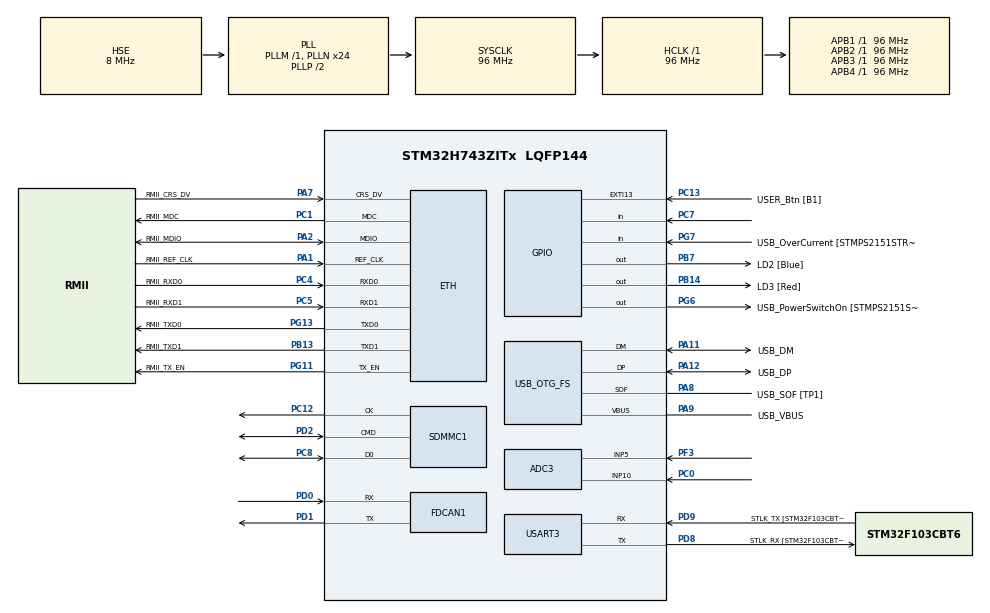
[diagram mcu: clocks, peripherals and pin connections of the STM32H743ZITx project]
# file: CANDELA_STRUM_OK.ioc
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ADC3.Channel-0\#ChannelRegularConversion=ADC_CHANNEL_10
ADC3.Channel-1\#ChannelRegularConversion=ADC_CHANNEL_5
ADC3.ClockPrescaler=ADC_CLOCK_ASYNC_DIV12
ADC3.ContinuousConvMode=ENABLE
ADC3.ConversionDataManagement=ADC_CONVERSIONDATA_DMA_CIRCULAR
ADC3.NbrOfConversion=2
ADC3.NbrOfConversionFlag=1
ADC3.OffsetNumber-0\#ChannelRegularConversion=ADC_OFFSET_NONE
ADC3.OffsetNumber-1\#ChannelRegularConversion=ADC_OFFSET_NONE
ADC3.Overrun=ADC_OVR_DATA_OVERWRITTEN
ADC3.Rank-0\#ChannelRegularConversion=1
ADC3.Rank-1\#ChannelRegularConversion=2
ADC3.SamplingTime-0\#ChannelRegularConversion=ADC_SAMPLETIME_1CYCLE_5
ADC3.SamplingTime-1\#ChannelRegularConversion=ADC_SAMPLETIME_1CYCLE_5
Dma.ADC3.0.Direction=DMA_PERIPH_TO_MEMORY
Dma.ADC3.0.EventEnable=DISABLE
Dma.ADC3.0.FIFOMode=DMA_FIFOMODE_DISABLE
Dma.ADC3.0.Instance=DMA1_Stream0
Dma.ADC3.0.MemDataAlignment=DMA_MDATAALIGN_HALFWORD
Dma.ADC3.0.MemInc=DMA_MINC_ENABLE
Dma.ADC3.0.Mode=DMA_CIRCULAR
Dma.ADC3.0.PeriphDataAlignment=DMA_PDATAALIGN_HALFWORD
Dma.ADC3.0.PeriphInc=DMA_PINC_DISABLE
Dma.ADC3.0.Polarity=HAL_DMAMUX_REQ_GEN_RISING
Dma.ADC3.0.Priority=DMA_PRIORITY_LOW
Dma.ADC3.0.RequestNumber=1
Dma.ADC3.0.SignalID=NONE
Dma.ADC3.0.SyncEnable=DISABLE
Dma.ADC3.0.SyncPolarity=HAL_DMAMUX_SYNC_NO_EVENT
Dma.ADC3.0.SyncRequestNumber=1
Dma.ADC3.0.SyncSignalID=NONE
Dma.Request0=ADC3
ETH.MediaInterface=HAL_ETH_RMII_MODE
FATFS.BSP.number=1
FATFS._FS_EXFAT=1
FATFS._MAX_SS=4096
FATFS._USE_LFN=1
FATFS0.BSP.STBoard=false
FATFS0.BSP.api=Unknown
FATFS0.BSP.i2caddr=0
FATFS0.BSP.instance=PC7
FATFS0.BSP.ip=GPIO
FATFS0.BSP.mode=Input
FATFS0.BSP.name=Detect_SDIO
FATFS0.BSP.solution=PC7
FDCAN1.DataPrescaler=5
FDCAN1.DataTimeSeg1=13
FDCAN1.DataTimeSeg2=2
FDCAN1.NominalPrescaler=5
FDCAN1.NominalTimeSeg1=13
FDCAN1.RxBuffersNbr=32
FDCAN1.RxFifo0ElmtsNbr=32
FDCAN1.TxBuffersNbr=8
FDCAN1.TxFifoQueueElmtsNbr=8
Mcu.Family=STM32H7
Mcu.Name=STM32H743ZITx
Mcu.Package=LQFP144
NVIC.ADC3_IRQn=true\:0\:0\:false\:false\:true\:true\:true
NVIC.DMA1_Stream0_IRQn=true\:0\:0\:false\:false\:true\:false\:true
NVIC.FDCAN1_IT0_IRQn=true\:0\:0\:false\:true\:true\:1\:true\:true
NVIC.PriorityGroup=NVIC_PRIORITYGROUP_4
NVIC.TIM17_IRQn=true\:0\:0\:false\:true\:true\:2\:true\:true
PA1.GPIO_Label=RMII_REF_CLK
PA1.Mode=RMII
PA1.Signal=ETH_REF_CLK
PA10.GPIO_Label=USB_ID
PA10.Signal=USB_OTG_FS_ID
PA11.GPIO_Label=USB_DM
PA11.Mode=Device_Only
PA11.Signal=USB_OTG_FS_DM
PA12.GPIO_Label=USB_DP
PA12.Mode=Device_Only
PA12.Signal=USB_OTG_FS_DP
PA2.GPIO_Label=RMII_MDIO
PA2.Mode=RMII
PA2.Signal=ETH_MDIO
PA7.GPIO_Label=RMII_CRS_DV
PA7.Mode=RMII
PA7.Signal=ETH_CRS_DV
PA8.GPIO_Label=USB_SOF [TP1]
PA8.Mode=Activate_SOF_FS
PA8.Signal=USB_OTG_FS_SOF
PA9.GPIO_Label=USB_VBUS
PA9.Mode=Activate_VBUS
PA9.Signal=USB_OTG_FS_VBUS
PB13.GPIO_Label=RMII_TXD1
PB13.Mode=RMII
PB13.Signal=ETH_TXD1
PB14.GPIO_Label=LD3 [Red]
PB14.Signal=GPIO_Output
PB7.GPIO_Label=LD2 [Blue]
PB7.Signal=GPIO_Output
PC0.Signal=ADCx_INP10
PC1.GPIO_Label=RMII_MDC
PC1.Mode=RMII
PC1.Signal=ETH_MDC
PC12.GPIO_PuPd=GPIO_NOPULL
PC12.Mode=SD_1_bit
PC12.Signal=SDMMC1_CK
PC13.GPIO_Label=USER_Btn [B1]
PC13.Signal=GPXTI13
PC14-OSC32_IN\ (OSC32_IN).Mode=LSE-External-Oscillator
PC14-OSC32_IN\ (OSC32_IN).Signal=RCC_OSC32_IN
PC15-OSC32_OUT\ (OSC32_OUT).Mode=LSE-External-Oscillator
PC15-OSC32_OUT\ (OSC32_OUT).Signal=RCC_OSC32_OUT
PC4.GPIO_Label=RMII_RXD0
PC4.Mode=RMII
PC4.Signal=ETH_RXD0
PC5.GPIO_Label=RMII_RXD1
PC5.Mode=RMII
PC5.Signal=ETH_RXD1
PC7.GPIO_PuPd=GPIO_PULLDOWN
PC7.Signal=GPIO_Input
PC8.GPIO_PuPd=GPIO_PULLUP
PC8.Mode=SD_1_bit
PC8.Signal=SDMMC1_D0
PD0.Mode=FDCANMaster
PD0.Signal=FDCAN1_RX
PD1.Mode=FDCANMaster
PD1.Signal=FDCAN1_TX
PD2.GPIO_PuPd=GPIO_PULLUP
PD2.Mode=SD_1_bit
PD2.Signal=SDMMC1_CMD
PD8.GPIO_Label=STLK_RX [STM32F103CBT6_PA3]
PD8.Mode=Asynchronous
PD8.Signal=USART3_TX
PD9.GPIO_Label=STLK_TX [STM32F103CBT6_PA2]
PD9.Mode=Asynchronous
PD9.Signal=USART3_RX
PF3.Mode=IN5-Single-Ended
PF3.Signal=ADC3_INP5
PG11.GPIO_Label=RMII_TX_EN
PG11.Mode=RMII
PG11.Signal=ETH_TX_EN
PG13.GPIO_Label=RMII_TXD0
PG13.Mode=RMII
PG13.Signal=ETH_TXD0
PG6.GPIO_Label=USB_PowerSwitchOn [STMPS2151STR_EN]
PG6.Signal=GPIO_Output
PG7.GPIO_Label=USB_OverCurrent [STMPS2151STR_FAULT]
PG7.Signal=GPIO_Input
PH0-OSC_IN\ (PH0).GPIO_Label=MCO
PH0-OSC_IN\ (PH0).Mode=HSE-External-Clock-Source
PH0-OSC_IN\ (PH0).Signal=RCC_OSC_IN
PH1-OSC_OUT\ (PH1).Signal=RCC_OSC_OUT
ProjectManager.HeapSize=0x2000
ProjectManager.StackSize=0x4000
ProjectManager.TargetToolchain=STM32CubeIDE
RCC.48MHZClocksFreq_Value=24000000
RCC.ADCFreq_Value=150000000
RCC.AHBFreq_Value=216000000
RCC.APB1CLKDivider=RCC_HCLK_DIV4
RCC.APB1Freq_Value=96000000
RCC.APB1TimFreq_Value=108000000
RCC.APB2CLKDivider=RCC_HCLK_DIV2
RCC.APB2Freq_Value=96000000
RCC.APB2TimFreq_Value=216000000
RCC.APB3Freq_Value=96000000
RCC.APB4Freq_Value=96000000
RCC.CortexFreq_Value=96000000
RCC.DIVM1=1
RCC.DIVM2=1
RCC.DIVM3=1
RCC.DIVN1=24
RCC.DIVN2=18
RCC.DIVN3=24
RCC.DIVP2=1
RCC.DIVQ1=4
RCC.DIVQ3=4
RCC.DIVR3=1
RCC.FDCANCLockSelection=RCC_FDCANCLKSOURCE_HSE
RCC.HCLKFreq_Value=96000000
RCC.HSE_VALUE=8000000
RCC.HSI_VALUE=64000000
RCC.PLL2FRACN=6144
RCC.PLL3FRACN=0
RCC.PLLFRACN=0
RCC.PLLM=25
RCC.PLLMUL=RCC_PLL_MUL9
RCC.PLLN=432
RCC.PLLQ=9
RCC.PRESCALERUSB=RCC_USBCLKSOURCE_PLL_DIV1_5
RCC.PWR_Regulator_Voltage_Scale=PWR_REGULATOR_VOLTAGE_SCALE1
RCC.SYSCLKFreq_VALUE=96000000
RCC.SYSCLKSource=RCC_SYSCLKSOURCE_PLLCLK
RCC.SYSCLKSourceVirtual=RCC_SYSCLKSOURCE_PLLCLK
RCC.USBCLockSelection=RCC_USBCLKSOURCE_PLL3
RCC.USBFreq_Value=48000000
RCC.VCOOutputFreq_Value=432000000
SDMMC1.ClockDiv=0
SDMMC1.ClockEdge=SDMMC_CLOCK_EDGE_RISING
SH.ADCx_INP10.0=ADC3_INP10,IN10-Single-Ended
TIM17.AutoReloadPreload=TIM_AUTORELOAD_PRELOAD_ENABLE
TIM17.Period=25
TIM17.Prescaler=12799
USART3.VirtualMode-Asynchronous=VM_ASYNC
USB_OTG_FS.VirtualMode=Device_Only
VP_FATFS_VS_SDIO.Mode=SDIO
VP_TIM17_VS_ClockSourceINT.Mode=Enable_Timer
board=NUCLEO-H743ZI

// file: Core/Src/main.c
/* USER CODE BEGIN Header */
/**
  ******************************************************************************
  * @file           : main.c
  * @brief          : Main program body
  ******************************************************************************
  * @attention
  *
  * <h2><center>&copy; Copyright (c) 2020 STMicroelectronics.
  * All rights reserved.</center></h2>
  *
  * This software component is licensed by ST under BSD 3-Clause license,
  * the "License"; You may not use this file except in compliance with the
  * License. You may obtain a copy of the License at:
  *                        opensource.org/licenses/BSD-3-Clause
  *
  ******************************************************************************
  */
/* USER CODE END Header */

#include "main.h"
#include "string.h"
#include "fatfs.h"

/* USER CODE BEGIN PTD */
typedef union{
	uint8_t		Data8u[8];
	uint16_t	Data16u[4];
	uint32_t	Data32u[2];
}data_typedef;
/* USER CODE END PTD */

/* USER CODE BEGIN PD */
#define ADC_CONVERTED_DATA_BUFFER_SIZE   65000   /* Size of array aADCxConvertedData[] */
/* USER CODE END PD */

/* USER CODE BEGIN PM */
struct{
	int16_t Acc_x;
	int16_t Acc_y;
	int16_t Acc_z;
	int16_t Gir_x;
	int16_t Gir_y;
	int16_t T_a;
	int16_t T_g;
	int16_t T_b;
	uint32_t Pres;
	uint16_t Hum;
	uint16_t Responce_Time_millis;
	uint32_t Timer;
	uint8_t ID;
}Dati;
/* USER CODE END PM */

#if defined ( __ICCARM__ ) /*!< IAR Compiler */

#pragma location=0x30040000
ETH_DMADescTypeDef  DMARxDscrTab[ETH_RX_DESC_CNT]; /* Ethernet Rx DMA Descriptors */
#pragma location=0x30040060
ETH_DMADescTypeDef  DMATxDscrTab[ETH_TX_DESC_CNT]; /* Ethernet Tx DMA Descriptors */
#pragma location=0x30040200
uint8_t Rx_Buff[ETH_RX_DESC_CNT][ETH_MAX_PACKET_SIZE]; /* Ethernet Receive Buffers */

#elif defined ( __CC_ARM )  /* MDK ARM Compiler */

__attribute__((at(0x30040000))) ETH_DMADescTypeDef  DMARxDscrTab[ETH_RX_DESC_CNT]; /* Ethernet Rx DMA Descriptors */
__attribute__((at(0x30040060))) ETH_DMADescTypeDef  DMATxDscrTab[ETH_TX_DESC_CNT]; /* Ethernet Tx DMA Descriptors */
__attribute__((at(0x30040200))) uint8_t Rx_Buff[ETH_RX_DESC_CNT][ETH_MAX_PACKET_SIZE]; /* Ethernet Receive Buffer */

#elif defined ( __GNUC__ ) /* GNU Compiler */

ETH_DMADescTypeDef DMARxDscrTab[ETH_RX_DESC_CNT] __attribute__((section(".RxDecripSection"))); /* Ethernet Rx DMA Descriptors */
ETH_DMADescTypeDef DMATxDscrTab[ETH_TX_DESC_CNT] __attribute__((section(".TxDecripSection")));   /* Ethernet Tx DMA Descriptors */
uint8_t Rx_Buff[ETH_RX_DESC_CNT][ETH_MAX_PACKET_SIZE] __attribute__((section(".RxArraySection"))); /* Ethernet Receive Buffers */

#endif

ETH_TxPacketConfig TxConfig;
ADC_HandleTypeDef hadc3;
DMA_HandleTypeDef hdma_adc3;

ETH_HandleTypeDef heth;

FDCAN_HandleTypeDef hfdcan1;

SD_HandleTypeDef hsd1;

TIM_HandleTypeDef htim17;

UART_HandleTypeDef huart3;

PCD_HandleTypeDef hpcd_USB_OTG_FS;

/* USER CODE BEGIN PV */
// CAN Variables
FDCAN_RxHeaderTypeDef 	RxHeader;
FDCAN_TxHeaderTypeDef 	TxHeader;
data_typedef			rxData;
uint8_t br;
// SD Card Variables
extern FIL 				SDFile;
extern char 			SDPath[4];
FATFS 					SDFatFs;
HAL_SD_CardInfoTypeDef 	CardInfo;
uint8_t 				workBuffer[_MAX_SS];
FRESULT 				res;
//ADC3
uint16_t analogDmaData[ADC_CONVERTED_DATA_BUFFER_SIZE];
uint32_t i=0;
/* USER CODE END PV */

void SystemClock_Config(void);
static void MX_GPIO_Init(void);
static void MX_DMA_Init(void);
static void MX_ETH_Init(void);
static void MX_USART3_UART_Init(void);
static void MX_USB_OTG_FS_PCD_Init(void);
static void MX_FDCAN1_Init(void);
static void MX_SDMMC1_SD_Init(void);
static void MX_TIM17_Init(void);
static void MX_ADC3_Init(void);
static void MX_NVIC_Init(void);

int main(void)
{

  /* MCU Configuration--------------------------------------------------------*/

  /* Reset of all peripherals, Initializes the Flash interface and the Systick. */
  HAL_Init();

  /* Configure the system clock */
  SystemClock_Config();

  /* Initialize all configured peripherals */
  MX_GPIO_Init();
  MX_DMA_Init();
  MX_ETH_Init();
  MX_USART3_UART_Init();
  MX_USB_OTG_FS_PCD_Init();
  MX_FDCAN1_Init();
  MX_SDMMC1_SD_Init();
  MX_TIM17_Init();
  MX_ADC3_Init();
  MX_FATFS_Init();

  /* Initialize interrupts */
  MX_NVIC_Init();
  /* USER CODE BEGIN 2 */
  // SD Card Initialization
  char path[] = "DATA_LOG.TXT";
  res = f_mount(&SDFatFs, SDPath, 1);
  res = f_open(&SDFile, &path[0], FA_CREATE_ALWAYS);
  res = f_close(&SDFile);
  res = f_open(&SDFile, &path[0], FA_OPEN_APPEND | FA_WRITE);
  //f_printf(&SDFile,"Timer, ID, Acc_X, Acc_Y, Acc_Z, Gyr_X, Gyr_Y, Temp\n");
  HAL_ADCEx_Calibration_Start(&hadc3, ADC_CALIB_OFFSET,ADC_SINGLE_ENDED);
  HAL_ADC_Start_DMA(&hadc3, (uint32_t*)analogDmaData, ADC_CONVERTED_DATA_BUFFER_SIZE);
  // CAN Initialization
  HAL_FDCAN_Start(&hfdcan1);
  HAL_FDCAN_ActivateNotification(&hfdcan1, FDCAN_IT_RX_FIFO0_NEW_MESSAGE, 0);

  // TIMER Initialization
  HAL_TIM_Base_Start_IT(&htim17);
  /* USER CODE END 2 */

  /* Infinite loop */
  while (1)
  {

  }
}

void SystemClock_Config(void)
{
  RCC_OscInitTypeDef RCC_OscInitStruct = {0};
  RCC_ClkInitTypeDef RCC_ClkInitStruct = {0};
  RCC_PeriphCLKInitTypeDef PeriphClkInitStruct = {0};

  /** Supply configuration update enable
  */
  HAL_PWREx_ConfigSupply(PWR_LDO_SUPPLY);
  /** Configure the main internal regulator output voltage
  */
  __HAL_PWR_VOLTAGESCALING_CONFIG(PWR_REGULATOR_VOLTAGE_SCALE1);

  while(!__HAL_PWR_GET_FLAG(PWR_FLAG_VOSRDY)) {}
  /** Macro to configure the PLL clock source
  */
  __HAL_RCC_PLL_PLLSOURCE_CONFIG(RCC_PLLSOURCE_HSE);
  /** Initializes the CPU, AHB and APB busses clocks
  */
  RCC_OscInitStruct.OscillatorType = RCC_OSCILLATORTYPE_HSE;
  RCC_OscInitStruct.HSEState = RCC_HSE_BYPASS;
  RCC_OscInitStruct.PLL.PLLState = RCC_PLL_ON;
  RCC_OscInitStruct.PLL.PLLSource = RCC_PLLSOURCE_HSE;
  RCC_OscInitStruct.PLL.PLLM = 1;
  RCC_OscInitStruct.PLL.PLLN = 24;
  RCC_OscInitStruct.PLL.PLLP = 2;
  RCC_OscInitStruct.PLL.PLLQ = 4;
  RCC_OscInitStruct.PLL.PLLR = 2;
  RCC_OscInitStruct.PLL.PLLRGE = RCC_PLL1VCIRANGE_3;
  RCC_OscInitStruct.PLL.PLLVCOSEL = RCC_PLL1VCOWIDE;
  RCC_OscInitStruct.PLL.PLLFRACN = 0;
  if (HAL_RCC_OscConfig(&RCC_OscInitStruct) != HAL_OK)
  {
    Error_Handler();
  }
  /** Initializes the CPU, AHB and APB busses clocks
  */
  RCC_ClkInitStruct.ClockType = RCC_CLOCKTYPE_HCLK|RCC_CLOCKTYPE_SYSCLK
                              |RCC_CLOCKTYPE_PCLK1|RCC_CLOCKTYPE_PCLK2
                              |RCC_CLOCKTYPE_D3PCLK1|RCC_CLOCKTYPE_D1PCLK1;
  RCC_ClkInitStruct.SYSCLKSource = RCC_SYSCLKSOURCE_PLLCLK;
  RCC_ClkInitStruct.SYSCLKDivider = RCC_SYSCLK_DIV1;
  RCC_ClkInitStruct.AHBCLKDivider = RCC_HCLK_DIV1;
  RCC_ClkInitStruct.APB3CLKDivider = RCC_APB3_DIV1;
  RCC_ClkInitStruct.APB1CLKDivider = RCC_APB1_DIV1;
  RCC_ClkInitStruct.APB2CLKDivider = RCC_APB2_DIV1;
  RCC_ClkInitStruct.APB4CLKDivider = RCC_APB4_DIV1;

  if (HAL_RCC_ClockConfig(&RCC_ClkInitStruct, FLASH_LATENCY_1) != HAL_OK)
  {
    Error_Handler();
  }
  PeriphClkInitStruct.PeriphClockSelection = RCC_PERIPHCLK_USART3|RCC_PERIPHCLK_FDCAN
                              |RCC_PERIPHCLK_SDMMC|RCC_PERIPHCLK_ADC
                              |RCC_PERIPHCLK_USB;
  PeriphClkInitStruct.PLL2.PLL2M = 1;
  PeriphClkInitStruct.PLL2.PLL2N = 18;
  PeriphClkInitStruct.PLL2.PLL2P = 1;
  PeriphClkInitStruct.PLL2.PLL2Q = 2;
  PeriphClkInitStruct.PLL2.PLL2R = 2;
  PeriphClkInitStruct.PLL2.PLL2RGE = RCC_PLL2VCIRANGE_3;
  PeriphClkInitStruct.PLL2.PLL2VCOSEL = RCC_PLL2VCOMEDIUM;
  PeriphClkInitStruct.PLL2.PLL2FRACN = 6144;
  PeriphClkInitStruct.PLL3.PLL3M = 1;
  PeriphClkInitStruct.PLL3.PLL3N = 24;
  PeriphClkInitStruct.PLL3.PLL3P = 2;
  PeriphClkInitStruct.PLL3.PLL3Q = 4;
  PeriphClkInitStruct.PLL3.PLL3R = 1;
  PeriphClkInitStruct.PLL3.PLL3RGE = RCC_PLL3VCIRANGE_3;
  PeriphClkInitStruct.PLL3.PLL3VCOSEL = RCC_PLL3VCOWIDE;
  PeriphClkInitStruct.PLL3.PLL3FRACN = 0;
  PeriphClkInitStruct.SdmmcClockSelection = RCC_SDMMCCLKSOURCE_PLL;
  PeriphClkInitStruct.FdcanClockSelection = RCC_FDCANCLKSOURCE_HSE;
  PeriphClkInitStruct.Usart234578ClockSelection = RCC_USART234578CLKSOURCE_D2PCLK1;
  PeriphClkInitStruct.UsbClockSelection = RCC_USBCLKSOURCE_PLL3;
  PeriphClkInitStruct.AdcClockSelection = RCC_ADCCLKSOURCE_PLL2;
  if (HAL_RCCEx_PeriphCLKConfig(&PeriphClkInitStruct) != HAL_OK)
  {
    Error_Handler();
  }
  /** Enable USB Voltage detector
  */
  HAL_PWREx_EnableUSBVoltageDetector();
}

/**
  * @brief NVIC Configuration.
  * @retval None
  */
static void MX_NVIC_Init(void)
{
  /* FDCAN1_IT0_IRQn interrupt configuration */
  HAL_NVIC_SetPriority(FDCAN1_IT0_IRQn, 0, 0);
  HAL_NVIC_EnableIRQ(FDCAN1_IT0_IRQn);
  /* TIM17_IRQn interrupt configuration */
  HAL_NVIC_SetPriority(TIM17_IRQn, 0, 0);
  HAL_NVIC_EnableIRQ(TIM17_IRQn);
}

static void MX_ADC3_Init(void)
{

  ADC_ChannelConfTypeDef sConfig = {0};

  /** Common config
  */
  hadc3.Instance = ADC3;
  hadc3.Init.ClockPrescaler = ADC_CLOCK_ASYNC_DIV12;
  hadc3.Init.Resolution = ADC_RESOLUTION_16B;
  hadc3.Init.ScanConvMode = ADC_SCAN_ENABLE;
  hadc3.Init.EOCSelection = ADC_EOC_SINGLE_CONV;
  hadc3.Init.LowPowerAutoWait = DISABLE;
  hadc3.Init.ContinuousConvMode = ENABLE;
  hadc3.Init.NbrOfConversion = 2;
  hadc3.Init.DiscontinuousConvMode = DISABLE;
  hadc3.Init.ExternalTrigConv = ADC_SOFTWARE_START;
  hadc3.Init.ExternalTrigConvEdge = ADC_EXTERNALTRIGCONVEDGE_NONE;
  hadc3.Init.ConversionDataManagement = ADC_CONVERSIONDATA_DMA_CIRCULAR;
  hadc3.Init.Overrun = ADC_OVR_DATA_OVERWRITTEN;
  hadc3.Init.LeftBitShift = ADC_LEFTBITSHIFT_NONE;
  hadc3.Init.OversamplingMode = DISABLE;
  if (HAL_ADC_Init(&hadc3) != HAL_OK)
  {
    Error_Handler();
  }
  /** Configure Regular Channel
  */
  sConfig.Channel = ADC_CHANNEL_10;
  sConfig.Rank = ADC_REGULAR_RANK_1;
  sConfig.SamplingTime = ADC_SAMPLETIME_1CYCLE_5;
  sConfig.SingleDiff = ADC_SINGLE_ENDED;
  sConfig.OffsetNumber = ADC_OFFSET_NONE;
  sConfig.Offset = 0;
  if (HAL_ADC_ConfigChannel(&hadc3, &sConfig) != HAL_OK)
  {
    Error_Handler();
  }
  /** Configure Regular Channel
  */
  sConfig.Channel = ADC_CHANNEL_5;
  sConfig.Rank = ADC_REGULAR_RANK_2;
  if (HAL_ADC_ConfigChannel(&hadc3, &sConfig) != HAL_OK)
  {
    Error_Handler();
  }

}

static void MX_ETH_Init(void)
{

  heth.Instance = ETH;
  heth.Init.MACAddr[0] =   0x00;
  heth.Init.MACAddr[1] =   0x80;
  heth.Init.MACAddr[2] =   0xE1;
  heth.Init.MACAddr[3] =   0x00;
  heth.Init.MACAddr[4] =   0x00;
  heth.Init.MACAddr[5] =   0x00;
  heth.Init.MediaInterface = HAL_ETH_RMII_MODE;
  heth.Init.TxDesc = DMATxDscrTab;
  heth.Init.RxDesc = DMARxDscrTab;
  heth.Init.RxBuffLen = 1524;

  if (HAL_ETH_Init(&heth) != HAL_OK)
  {
    Error_Handler();
  }

  memset(&TxConfig, 0 , sizeof(ETH_TxPacketConfig));
  TxConfig.Attributes = ETH_TX_PACKETS_FEATURES_CSUM | ETH_TX_PACKETS_FEATURES_CRCPAD;
  TxConfig.ChecksumCtrl = ETH_CHECKSUM_IPHDR_PAYLOAD_INSERT_PHDR_CALC;
  TxConfig.CRCPadCtrl = ETH_CRC_PAD_INSERT;

}

static void MX_FDCAN1_Init(void)
{

  hfdcan1.Instance = FDCAN1;
  hfdcan1.Init.FrameFormat = FDCAN_FRAME_CLASSIC;
  hfdcan1.Init.Mode = FDCAN_MODE_NORMAL;
  hfdcan1.Init.AutoRetransmission = DISABLE;
  hfdcan1.Init.TransmitPause = DISABLE;
  hfdcan1.Init.ProtocolException = DISABLE;
  hfdcan1.Init.NominalPrescaler = 5;
  hfdcan1.Init.NominalSyncJumpWidth = 1;
  hfdcan1.Init.NominalTimeSeg1 = 13;
  hfdcan1.Init.NominalTimeSeg2 = 2;
  hfdcan1.Init.DataPrescaler = 5;
  hfdcan1.Init.DataSyncJumpWidth = 1;
  hfdcan1.Init.DataTimeSeg1 = 13;
  hfdcan1.Init.DataTimeSeg2 = 2;
  hfdcan1.Init.MessageRAMOffset = 0;
  hfdcan1.Init.StdFiltersNbr = 0;
  hfdcan1.Init.ExtFiltersNbr = 0;
  hfdcan1.Init.RxFifo0ElmtsNbr = 32;
  hfdcan1.Init.RxFifo0ElmtSize = FDCAN_DATA_BYTES_8;
  hfdcan1.Init.RxFifo1ElmtsNbr = 0;
  hfdcan1.Init.RxFifo1ElmtSize = FDCAN_DATA_BYTES_8;
  hfdcan1.Init.RxBuffersNbr = 32;
  hfdcan1.Init.RxBufferSize = FDCAN_DATA_BYTES_8;
  hfdcan1.Init.TxEventsNbr = 0;
  hfdcan1.Init.TxBuffersNbr = 8;
  hfdcan1.Init.TxFifoQueueElmtsNbr = 8;
  hfdcan1.Init.TxFifoQueueMode = FDCAN_TX_FIFO_OPERATION;
  hfdcan1.Init.TxElmtSize = FDCAN_DATA_BYTES_8;
  if (HAL_FDCAN_Init(&hfdcan1) != HAL_OK)
  {
    Error_Handler();
  }

}

static void MX_SDMMC1_SD_Init(void)
{

  hsd1.Instance = SDMMC1;
  hsd1.Init.ClockEdge = SDMMC_CLOCK_EDGE_RISING;
  hsd1.Init.ClockPowerSave = SDMMC_CLOCK_POWER_SAVE_DISABLE;
  hsd1.Init.BusWide = SDMMC_BUS_WIDE_1B;
  hsd1.Init.HardwareFlowControl = SDMMC_HARDWARE_FLOW_CONTROL_DISABLE;
  hsd1.Init.ClockDiv = 0;
  hsd1.Init.TranceiverPresent = SDMMC_TRANSCEIVER_NOT_PRESENT;
  /* USER CODE BEGIN SDMMC1_Init 2 */
  if(HAL_SD_Init(&hsd1)!=HAL_OK)
  {Error_Handler();
  }

  /* USER CODE END SDMMC1_Init 2 */

}

static void MX_TIM17_Init(void)
{

  htim17.Instance = TIM17;
  htim17.Init.Prescaler = 12799;
  htim17.Init.CounterMode = TIM_COUNTERMODE_UP;
  htim17.Init.Period = 25;
  htim17.Init.ClockDivision = TIM_CLOCKDIVISION_DIV1;
  htim17.Init.RepetitionCounter = 0;
  htim17.Init.AutoReloadPreload = TIM_AUTORELOAD_PRELOAD_ENABLE;
  if (HAL_TIM_Base_Init(&htim17) != HAL_OK)
  {
    Error_Handler();
  }

}

static void MX_USART3_UART_Init(void)
{

  huart3.Instance = USART3;
  huart3.Init.BaudRate = 115200;
  huart3.Init.WordLength = UART_WORDLENGTH_8B;
  huart3.Init.StopBits = UART_STOPBITS_1;
  huart3.Init.Parity = UART_PARITY_NONE;
  huart3.Init.Mode = UART_MODE_TX_RX;
  huart3.Init.HwFlowCtl = UART_HWCONTROL_NONE;
  huart3.Init.OverSampling = UART_OVERSAMPLING_16;
  huart3.Init.OneBitSampling = UART_ONE_BIT_SAMPLE_DISABLE;
  huart3.Init.ClockPrescaler = UART_PRESCALER_DIV1;
  huart3.AdvancedInit.AdvFeatureInit = UART_ADVFEATURE_NO_INIT;
  if (HAL_UART_Init(&huart3) != HAL_OK)
  {
    Error_Handler();
  }
  if (HAL_UARTEx_SetTxFifoThreshold(&huart3, UART_TXFIFO_THRESHOLD_1_8) != HAL_OK)
  {
    Error_Handler();
  }
  if (HAL_UARTEx_SetRxFifoThreshold(&huart3, UART_RXFIFO_THRESHOLD_1_8) != HAL_OK)
  {
    Error_Handler();
  }
  if (HAL_UARTEx_DisableFifoMode(&huart3) != HAL_OK)
  {
    Error_Handler();
  }

}

static void MX_USB_OTG_FS_PCD_Init(void)
{

  hpcd_USB_OTG_FS.Instance = USB_OTG_FS;
  hpcd_USB_OTG_FS.Init.dev_endpoints = 9;
  hpcd_USB_OTG_FS.Init.speed = PCD_SPEED_FULL;
  hpcd_USB_OTG_FS.Init.dma_enable = DISABLE;
  hpcd_USB_OTG_FS.Init.phy_itface = PCD_PHY_EMBEDDED;
  hpcd_USB_OTG_FS.Init.Sof_enable = ENABLE;
  hpcd_USB_OTG_FS.Init.low_power_enable = DISABLE;
  hpcd_USB_OTG_FS.Init.lpm_enable = DISABLE;
  hpcd_USB_OTG_FS.Init.battery_charging_enable = ENABLE;
  hpcd_USB_OTG_FS.Init.vbus_sensing_enable = ENABLE;
  hpcd_USB_OTG_FS.Init.use_dedicated_ep1 = DISABLE;
  if (HAL_PCD_Init(&hpcd_USB_OTG_FS) != HAL_OK)
  {
    Error_Handler();
  }

}

static void MX_DMA_Init(void)
{

  /* DMA controller clock enable */
  __HAL_RCC_DMA1_CLK_ENABLE();

  /* DMA interrupt init */
  /* DMA1_Stream0_IRQn interrupt configuration */
  HAL_NVIC_SetPriority(DMA1_Stream0_IRQn, 0, 0);
  HAL_NVIC_EnableIRQ(DMA1_Stream0_IRQn);

}

static void MX_GPIO_Init(void)
{
  GPIO_InitTypeDef GPIO_InitStruct = {0};

  /* GPIO Ports Clock Enable */
  __HAL_RCC_GPIOC_CLK_ENABLE();
  __HAL_RCC_GPIOF_CLK_ENABLE();
  __HAL_RCC_GPIOH_CLK_ENABLE();
  __HAL_RCC_GPIOA_CLK_ENABLE();
  __HAL_RCC_GPIOB_CLK_ENABLE();
  __HAL_RCC_GPIOD_CLK_ENABLE();
  __HAL_RCC_GPIOG_CLK_ENABLE();

  /*Configure GPIO pin Output Level */
  HAL_GPIO_WritePin(GPIOB, LD3_Pin|LD2_Pin, GPIO_PIN_RESET);

  /*Configure GPIO pin Output Level */
  HAL_GPIO_WritePin(USB_PowerSwitchOn_GPIO_Port, USB_PowerSwitchOn_Pin, GPIO_PIN_RESET);

  /*Configure GPIO pin : USER_Btn_Pin */
  GPIO_InitStruct.Pin = USER_Btn_Pin;
  GPIO_InitStruct.Mode = GPIO_MODE_IT_RISING;
  GPIO_InitStruct.Pull = GPIO_NOPULL;
  HAL_GPIO_Init(USER_Btn_GPIO_Port, &GPIO_InitStruct);

  /*Configure GPIO pins : LD3_Pin LD2_Pin */
  GPIO_InitStruct.Pin = LD3_Pin|LD2_Pin;
  GPIO_InitStruct.Mode = GPIO_MODE_OUTPUT_PP;
  GPIO_InitStruct.Pull = GPIO_NOPULL;
  GPIO_InitStruct.Speed = GPIO_SPEED_FREQ_LOW;
  HAL_GPIO_Init(GPIOB, &GPIO_InitStruct);

  /*Configure GPIO pin : USB_PowerSwitchOn_Pin */
  GPIO_InitStruct.Pin = USB_PowerSwitchOn_Pin;
  GPIO_InitStruct.Mode = GPIO_MODE_OUTPUT_PP;
  GPIO_InitStruct.Pull = GPIO_NOPULL;
  GPIO_InitStruct.Speed = GPIO_SPEED_FREQ_LOW;
  HAL_GPIO_Init(USB_PowerSwitchOn_GPIO_Port, &GPIO_InitStruct);

  /*Configure GPIO pin : USB_OverCurrent_Pin */
  GPIO_InitStruct.Pin = USB_OverCurrent_Pin;
  GPIO_InitStruct.Mode = GPIO_MODE_INPUT;
  GPIO_InitStruct.Pull = GPIO_NOPULL;
  HAL_GPIO_Init(USB_OverCurrent_GPIO_Port, &GPIO_InitStruct);

  /*Configure GPIO pin : PC7 */
  GPIO_InitStruct.Pin = GPIO_PIN_7;
  GPIO_InitStruct.Mode = GPIO_MODE_INPUT;
  GPIO_InitStruct.Pull = GPIO_PULLDOWN;
  HAL_GPIO_Init(GPIOC, &GPIO_InitStruct);

}

/* USER CODE BEGIN 4 */
void HAL_FDCAN_RxFifo0Callback(FDCAN_HandleTypeDef *hfdcan, uint32_t RxFifo0ITs){
	if(HAL_FDCAN_GetRxMessage(&hfdcan1,FDCAN_RX_FIFO0,&RxHeader,rxData.Data8u) == HAL_OK){
		if((RxHeader.Identifier>>5) == 0x00){
			Dati.ID = (uint8_t)RxHeader.Identifier;
			Dati.Timer = rxData.Data8u[0] | rxData.Data8u[1]<<8 | rxData.Data8u[2]<<16 | rxData.Data8u[3]<<24;
			Dati.Gir_x = rxData.Data8u[4] | rxData.Data8u[5]<<8;
			Dati.Gir_y = rxData.Data8u[6] | rxData.Data8u[7]<<8;
		}
		else if((RxHeader.Identifier>>5) == 0x01){
			Dati.ID = (uint8_t)RxHeader.Identifier & 0x1F;
			Dati.Acc_x = rxData.Data8u[0] | rxData.Data8u[1]<<8;
			Dati.Acc_y = rxData.Data8u[2] | rxData.Data8u[3]<<8;
			Dati.Acc_z = rxData.Data8u[4] | rxData.Data8u[5]<<8;
			Dati.T_b = rxData.Data8u[6] | rxData.Data8u[7]<<8;
		}
		else{
			Dati.ID = (uint8_t)RxHeader.Identifier & 0x1F;
			Dati.Pres = rxData.Data8u[0] | rxData.Data8u[1]<<8 | rxData.Data8u[2]<<16 | rxData.Data8u[3]<<24;
		}
	}
}

void HAL_TIM_PeriodElapsedCallback(TIM_HandleTypeDef *htim){
    if (htim->Instance==TIM17){ //check if the interrupt comes from TIM17
    	if(HAL_GPIO_ReadPin(GPIOC, GPIO_PIN_13) == GPIO_PIN_SET){
    		HAL_TIM_Base_Stop_IT(&htim17);
    		//HAL_FDCAN_DeactivateNotification(&hfdcan1, FDCAN_IT_RX_FIFO0_NEW_MESSAGE);
    		res = f_close(&SDFile);
    		HAL_GPIO_WritePin(GPIOB, GPIO_PIN_7, GPIO_PIN_SET);
    	}

    }
}
void HAL_ADC_ConvHalfCpltCallback(ADC_HandleTypeDef* hadc){
	uint32_t result;
	result=f_write(&SDFile,analogDmaData,ADC_CONVERTED_DATA_BUFFER_SIZE/2, &br);

}
void HAL_ADC_ConvCpltCallback(ADC_HandleTypeDef* hadc){
uint32_t result;
i++;

result=f_write(&SDFile,&analogDmaData[ADC_CONVERTED_DATA_BUFFER_SIZE/2-2],ADC_CONVERTED_DATA_BUFFER_SIZE/2, &br);
if(i>=100){res = f_close(&SDFile);
HAL_GPIO_WritePin(GPIOB, GPIO_PIN_7, GPIO_PIN_SET);}
}
/* USER CODE END 4 */

void Error_Handler(void)
{
}

/************************ (C) COPYRIGHT STMicroelectronics *****END OF FILE****/
